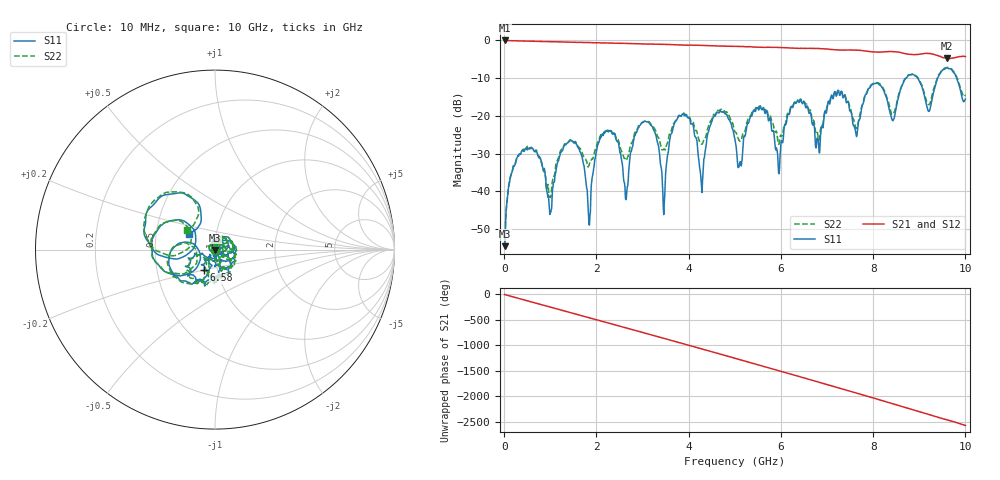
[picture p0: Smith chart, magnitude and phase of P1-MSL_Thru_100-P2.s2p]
! 2/19/2018 12:32:11 PM
! E:\STEPPED_EXPERIMENT_2018-02-19\P1-MSL_THRU_100-P2.S2P
! CHANNEL.1
! TR.MEASUREMENT
! CORRECTED.DATA
! Decimated for TDR Painter validation: every 10th frequency point (10 MHz steps), values unchanged.
# GHZ S RI R 50.0
! FREQ.GHZ  S11RE  S11IM  S21RE  S21IM  S12RE  S12IM  S22RE  S22IM
!; PortSelection: Port_12
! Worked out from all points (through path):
!   1000 points, 10 MHz to 10 GHz, reference 50 ohm
!   highest |S21| = 0.00 dB at 20 MHz (marker M1); lowest = -4.8 dB at 9.6 GHz (marker M2)
!   group delay of S21, straight-line fit = 712 ps
!   lowest |S11| = -54.6 dB at 10 MHz (marker M3), VSWR 1.00, Z = 50.1 - j0.134 ohm
!   |S11| at or under -10 dB: start of sweep to 8.715 GHz; 8.968 GHz to 9.398 GHz (429.1 MHz wide, 4.67 % of centre); 9.81 GHz to end of sweep
!   |S22| runs from -53.9 to -7.1 dB; largest |S21 - S12| = 0.02
!   S11 on the Smith chart (normalised r, x): 10 MHz: 1.00, -0.00; 6.58 GHz: 0.86, -0.20; 10 GHz: 0.74, +0.13
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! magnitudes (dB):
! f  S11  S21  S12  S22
! 10 MHz  -54.6  0.0  0.0  -53.9
! 20 MHz  -52.7  0.0  0.0  -51.8
! 370 MHz  -29.6  -0.1  -0.1  -29.7
! 990 MHz  -46.2  -0.3  -0.3  -41.6
! 1.33 GHz  -27.7  -0.4  -0.4  -27.4
! 1.68 GHz  -30.7  -0.5  -0.5  -29.3
! 1.84 GHz  -48.8  -0.5  -0.6  -33.2
! 2.17 GHz  -24.3  -0.7  -0.7  -24.3
! 2.64 GHz  -42.2  -0.8  -0.8  -31.2
! 2.95 GHz  -22.5  -0.9  -0.9  -22.3
! 3.34 GHz  -27.7  -1.0  -1.0  -25.7
! 3.46 GHz  -46.2  -1.0  -1.0  -28.8
! 3.82 GHz  -20.0  -1.2  -1.2  -20.1
! 4.27 GHz  -37.3  -1.3  -1.3  -27.4
! 4.58 GHz  -19.9  -1.4  -1.4  -19.7
! 5.01 GHz  -26.7  -1.6  -1.6  -24.3
! 5.94 GHz  -32.7  -1.8  -1.9  -27.4
! 6.58 GHz  -17.7  -2.1  -2.1  -17.4
! 6.67 GHz  -21.5  -2.1  -2.1  -20.6
! 8.34 GHz  -17.8  -2.9  -3.0  -16.7
! 9.6 GHz  -7.3  -4.8  -4.8  -7.2
! 10 GHz  -15.5  -4.3  -4.3  -14.4
